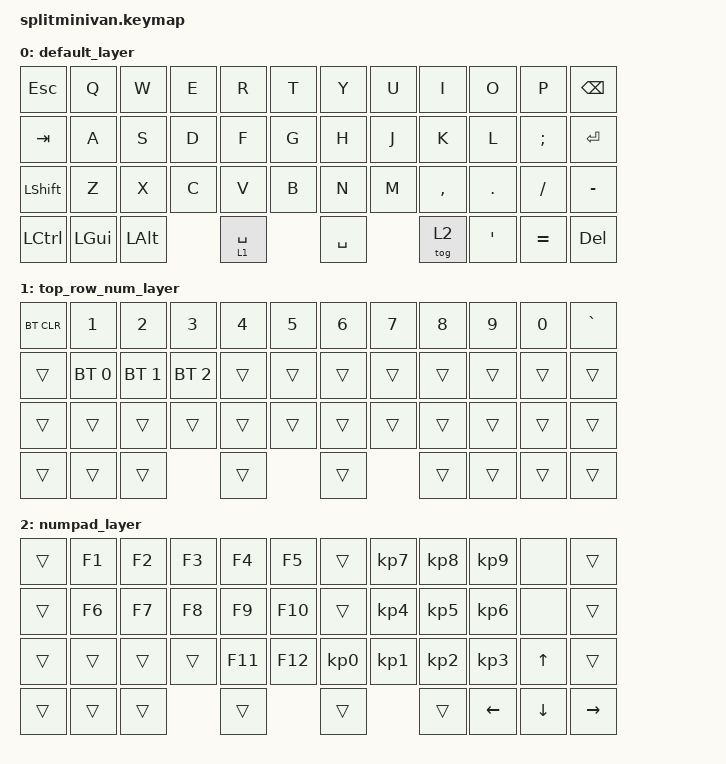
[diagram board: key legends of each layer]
/*
 * Copyright (c) 2020 The ZMK Contributors
 *
 * SPDX-License-Identifier: MIT
 */

#include <behaviors.dtsi>
#include <dt-bindings/zmk/bt.h>
#include <dt-bindings/zmk/keys.h>

/ {
    keymap {
        compatible = "zmk,keymap";

// ----------------------------------------------      -----------------------------------------------------
// | ESC   |  Q   |  W  |  E   |  R  |  T  |        |  Y  |  U  |  I  |  O  |  P  |  BSPC    |
// | TAB    |  A   |  S  |  D   |  F  |  G  |        |  H  |  J  |  K  |  L  |  ;  |  ENTER  |
// | SHIFT   |  Z   |  X  |  C  |  V   |  B  |          |  N  |  M  |  ,   |  .  |  /  |  -  |
// | LCTRL   | LGUI | LALT |    |  SPACE  |     |        |  SPACE  |   |  FN  |  '  |  =  | DEL |
// -------------------------------------------        ------------------------------------------------------

        default_layer {
            bindings = <
    &kp ESC   &kp Q    &kp W    &kp E     &kp R  &kp T         /**/ &kp Y     &kp U    &kp I     &kp O     &kp P     &kp BSPC
    &kp TAB   &kp A    &kp S    &kp D     &kp F  &kp G         /**/ &kp H     &kp J    &kp K     &kp L     &kp SEMI  &kp ENTER
    &kp LSHFT &kp Z    &kp X    &kp C     &kp V  &kp B         /**/ &kp N     &kp M    &kp COMMA &kp DOT   &kp FSLH  &kp MINUS
    &kp LCTRL &kp LGUI &kp LALT           &lt 1 SPACE            /**/ &kp SPACE          &tog 2    &kp APOS  &kp EQUAL &kp DEL
            >;
        };

// ----------------------------------------------     -----------------------------------------------------
// |BT_CLR|  1  |  2  |  3  |  4  |  5  |  6  |     |  7  |  8  |  9  |  0  |    |     | 
// |       | BT-0 | BT-1| BT-2 |     |     |       |     |     |     |     |     |     |
// |        |      |     |      |     |     |       |     |     |     |     |     |     |  
// |         |      |     |     |      |     |       |     |     |     |     |     |
// |         |      |      |           |     |       |     |    |      |     |     |
// -------------------------------------------       ------------------------------------------------------

        top_row_num_layer {
            bindings = <
    &bt BT_CLR &kp N1       &kp N2       &kp N3       &kp N4 &kp N5        /**/ &kp N6 &kp N7 &kp N8 &kp N9 &kp N0  &kp GRAVE 
    &trans     &bt BT_SEL 0 &bt BT_SEL 1 &bt BT_SEL 2 &trans &trans        /**/ &trans &trans &trans &trans  &trans  &trans  
    &trans     &trans       &trans       &trans       &trans &trans        /**/ &trans &trans &trans &trans  &trans  &trans
    &trans     &trans       &trans                    &trans               /**/ &trans        &trans &trans  &trans  &trans 
            >;
        };

        numpad_layer {
            bindings = <
    &trans     &kp F1       &kp F2       &kp F3       &kp F4 &kp F5        /**/ &trans &kp KP_N7 &kp KP_N8 &kp KP_N9  &none  &trans
    &trans     &kp F6       &kp F7       &kp F8       &kp F9 &kp F10        /**/ &trans &kp KP_N4 &kp KP_N5 &kp KP_N6  &none  &trans
    &trans     &trans       &trans       &trans       &kp F11 &kp F12        /**/ &kp KP_N0 &kp KP_N1 &kp KP_N2 &kp KP_N3  &kp UP  &trans
    &trans     &trans       &trans                    &trans               /**/ &trans                  &trans &kp LEFT  &kp DOWN  &kp RIGHT  
            >;
        };
    };
};
